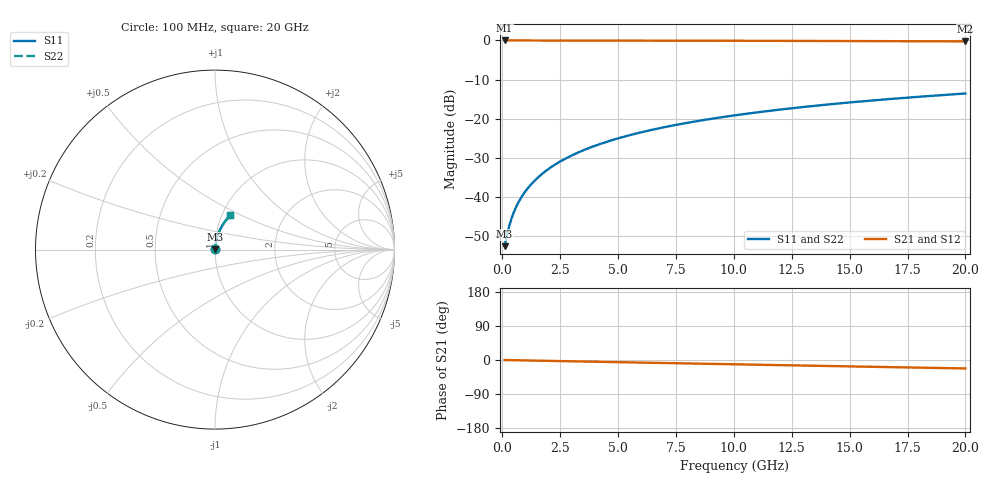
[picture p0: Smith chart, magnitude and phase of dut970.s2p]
! Touchstone file exported from HFSS 2026.1.0
!  File:  C:/ffzhzh/LocalFiles/Ansys_Project_Files/temp_train_BSMRDL_970_1783172588_43440.aedt
!  Generated:  09:44:21 PM Jul  4, 2026
!  Design:  BSMRDL
!  Project:  temp_train_BSMRDL_970_1783172588_43440
! Variables:
!  h_bsmrdl = 2.78um
!  h_ox = 20um
!  h_rdl = 5um
!  h_sub = 80um
!  h_tmrdl = 5um
!  h_tsv = 80um
!  h_via = 3um
!  l_bsmrdl = 299.72um
!  l_sub = 699.72um
!  l_tmrdl = 200um
!  m_sub = 200um
!  pitch = 43.95um
!  r_tsv = 6um
!  s_tmrdl = 10um
!  w_bsmrdl = 22.47um
!  w_sub = 500um
!  w_tmrdl = 12um
!  x_tsv_center1 = 206um
!  x_tsv_center2 = 528.19um
!  x_tsv_center3 = 740.19um
!  x_tsv_center4 = 1062.38um
!  x_tsv_center5 = 1274.38um
!  x_tsv_center6 = 1596.57um
# GHz S MA R 50.000000
! Terminal data exported
! Port[1] = BSM_RDL1_1_T1
! Port[2] = BSM_RDL1_1_T2
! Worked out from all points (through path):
!   200 points, 100 MHz to 20 GHz, reference 50 ohm
!   highest |S21| = -0.02 dB at 100 MHz (marker M1); lowest = -0.3 dB at 20 GHz (marker M2)
!   group delay of S21, straight-line fit = 3.1 ps
!   lowest |S11| = -52.6 dB at 100 MHz (marker M3), VSWR 1.00, Z = 50.2 + j0.126 ohm
!   |S11| at or under -10 dB: start of sweep to end of sweep
!   |S22| runs from -52.6 to -13.6 dB; largest |S21 - S12| = 3e-15
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0.1  0.002347 32.3  0.998 -0.1  0.998 -0.1  0.002347 32.3
! Gamma 0 0 0 0
! Port Impedance 50 0 50 0
0.2  0.003223 50.3  0.9979 -0.2  0.9979 -0.2  0.003223 50.3
0.3  0.004256 59.5  0.9979 -0.4  0.9979 -0.4  0.004256 59.5
0.4  0.005325 64.8  0.9978 -0.5  0.9978 -0.5  0.005325 64.8
0.5  0.006401 68.3  0.9977 -0.6  0.9977 -0.6  0.006401 68.3
0.6  0.007477 70.8  0.9976 -0.7  0.9976 -0.7  0.007477 70.8
0.8  0.009633 74.2  0.9975 -0.9  0.9975 -0.9  0.009633 74.2
1.1  0.01289 77.3  0.9974 -1.3  0.9974 -1.3  0.01289 77.3
1.3  0.01508 78.5  0.9973 -1.5  0.9973 -1.5  0.01508 78.5
1.6  0.01837 79.8  0.9972 -1.9  0.9972 -1.9  0.01837 79.8
2.1  0.0239 81.0  0.997 -2.4  0.997 -2.4  0.0239 81.0
2.7  0.03055 81.6  0.9967 -3.1  0.9967 -3.1  0.03055 81.6
3.5  0.03942 81.7  0.9963 -4.0  0.9963 -4.0  0.03942 81.7
4.2  0.04717 81.4  0.9958 -4.8  0.9958 -4.8  0.04717 81.4
5  0.05598 80.9  0.9951 -5.7  0.9951 -5.7  0.05598 80.9
5.9  0.06584 80.2  0.9943 -6.8  0.9943 -6.8  0.06584 80.2
6.8  0.07563 79.4  0.9934 -7.8  0.9934 -7.8  0.07563 79.4
8.3  0.09178 77.9  0.9916 -9.5  0.9916 -9.5  0.09178 77.9
10.1  0.1109 76.1  0.9892 -11.5  0.9892 -11.5  0.1109 76.1
13.4  0.145 72.7  0.9839 -15.1  0.9839 -15.1  0.145 72.7
16.7  0.1779 69.2  0.9778 -18.7  0.9778 -18.7  0.1779 69.2
20  0.2095 65.8  0.9709 -22.3  0.9709 -22.3  0.2095 65.8
